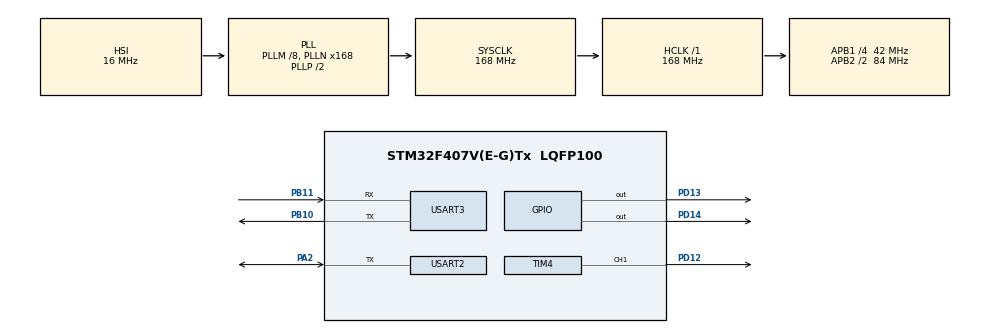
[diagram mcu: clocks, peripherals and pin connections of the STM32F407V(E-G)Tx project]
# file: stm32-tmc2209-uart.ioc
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Mcu.Family=STM32F4
Mcu.Name=STM32F407V(E-G)Tx
Mcu.Package=LQFP100
NVIC.PriorityGroup=NVIC_PRIORITYGROUP_4
PA2.Mode=Half_duplex(single_wire_mode)
PA2.Signal=USART2_TX
PB10.Mode=Asynchronous
PB10.Signal=USART3_TX
PB11.Mode=Asynchronous
PB11.Signal=USART3_RX
PD12.Signal=S_TIM4_CH1
PD13.Signal=GPIO_Output
PD14.Signal=GPIO_Output
ProjectManager.HeapSize=0x200
ProjectManager.StackSize=0x400
ProjectManager.TargetToolchain=STM32CubeIDE
RCC.48MHZClocksFreq_Value=84000000
RCC.AHBFreq_Value=168000000
RCC.APB1CLKDivider=RCC_HCLK_DIV4
RCC.APB1Freq_Value=42000000
RCC.APB1TimFreq_Value=84000000
RCC.APB2CLKDivider=RCC_HCLK_DIV2
RCC.APB2Freq_Value=84000000
RCC.APB2TimFreq_Value=168000000
RCC.CortexFreq_Value=168000000
RCC.HCLKFreq_Value=168000000
RCC.HSE_VALUE=25000000
RCC.HSI_VALUE=16000000
RCC.LSE_VALUE=32768
RCC.PLLM=8
RCC.PLLN=168
RCC.SYSCLKFreq_VALUE=168000000
RCC.SYSCLKSource=RCC_SYSCLKSOURCE_PLLCLK
RCC.VCOOutputFreq_Value=336000000
SH.S_TIM4_CH1.0=TIM4_CH1,PWM Generation1 CH1
TIM4.Channel-PWM\ Generation1\ CH1=TIM_CHANNEL_1
TIM4.Period=1000-1 
TIM4.Prescaler=84-1
TIM4.Pulse-PWM\ Generation1\ CH1=500
USART2.Mode=MODE_TX_RX
USART2.VirtualMode=VM_ASYNC
USART3.VirtualMode=VM_ASYNC
board=custom

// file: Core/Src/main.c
/* USER CODE BEGIN Header */
/**
  ******************************************************************************
  * @file           : main.c
  * @brief          : Main program body
  * @author         : M. Eyub Can, TECH-OHM (https://tech-ohm.com)
  ******************************************************************************
  * @attention
  *
  * Copyright (c) 2026 STMicroelectronics.
  * All rights reserved.
  *
  * This software is licensed under terms that can be found in the LICENSE file
  * in the root directory of this software component.
  * If no LICENSE file comes with this software, it is provided AS-IS.
  *
  ******************************************************************************
  */
/* USER CODE END Header */
#include "main.h"

/* USER CODE BEGIN Includes */
#include <stdio.h>
#include <string.h>
/* USER CODE END Includes */

/* USER CODE BEGIN PD */
#define TMC_SYNC            0x05U
#define TMC_SLAVE_ADDR      0x00U    /* MS1 = MS2 = GND */
#define TMC_MASTER_ADDR     0xFFU    /* the driver sends its reply to this address */
#define TMC_WRITE_FLAG      0x80U

#define TMC_REG_GCONF       0x00U
#define TMC_REG_IFCNT       0x02U
#define TMC_REG_IOIN        0x06U
#define TMC_REG_IHOLD_IRUN  0x10U
#define TMC_REG_TPOWERDOWN  0x11U
#define TMC_REG_CHOPCONF    0x6CU
#define TMC_REG_DRV_STATUS  0x6FU

#define TMC_READ_ERROR      0xFFFFFFFFUL

#define TMC_EN_PIN          GPIO_PIN_13   /* PD13, driver is enabled when low */
#define TMC_DIR_PIN         GPIO_PIN_14   /* PD14, direction */
/* USER CODE END PD */

TIM_HandleTypeDef htim4;

UART_HandleTypeDef huart2;
UART_HandleTypeDef huart3;

void SystemClock_Config(void);
static void MX_GPIO_Init(void);
static void MX_TIM4_Init(void);
static void MX_USART2_UART_Init(void);
static void MX_USART3_UART_Init(void);
/* USER CODE BEGIN PFP */
static void     log_print(const char *s);
static uint8_t  TMC_CRC(const uint8_t *data, uint8_t len);
static void     TMC_WriteReg(uint8_t reg, uint32_t value);
static uint32_t TMC_ReadReg(uint8_t reg);
static void     TMC_ReportStatus(void);
/* USER CODE END PFP */

/* USER CODE BEGIN 0 */
/* Terminal output goes out on USART3 (115200 8N1) */
static void log_print(const char *s)
{
  HAL_UART_Transmit(&huart3, (uint8_t *)s, (uint16_t)strlen(s), 100);
}

/* TMC2209 datagram CRC: polynomial x^8 + x^2 + x + 1, bytes processed LSB first */
static uint8_t TMC_CRC(const uint8_t *data, uint8_t len)
{
  uint8_t crc = 0;

  for (uint8_t i = 0; i < len; i++) {
    uint8_t byte = data[i];
    for (uint8_t j = 0; j < 8; j++) {
      if ((crc >> 7) ^ (byte & 0x01U))
        crc = (uint8_t)((crc << 1) ^ 0x07U);
      else
        crc = (uint8_t)(crc << 1);
      byte >>= 1;
    }
  }
  return crc;
}

/* Write datagram, 8 bytes: sync, address, register | 0x80, 4 data bytes (MSB first), CRC */
static void TMC_WriteReg(uint8_t reg, uint32_t value)
{
  uint8_t data[8];

  data[0] = TMC_SYNC;
  data[1] = TMC_SLAVE_ADDR;
  data[2] = reg | TMC_WRITE_FLAG;
  data[3] = (uint8_t)(value >> 24);
  data[4] = (uint8_t)(value >> 16);
  data[5] = (uint8_t)(value >> 8);
  data[6] = (uint8_t)(value);
  data[7] = TMC_CRC(data, 7);

  HAL_HalfDuplex_EnableTransmitter(&huart2);
  HAL_UART_Transmit(&huart2, data, 8, 100);
}

/* Read request, 4 bytes: sync, address, register, CRC. The driver replies on the
 * same wire with 8 bytes: sync, 0xFF, register, 4 data bytes, CRC. It is a single
 * wire, so the USART switches to receive once the request is out. */
static uint32_t TMC_ReadReg(uint8_t reg)
{
  uint8_t req[4];
  uint8_t resp[8] = {0};
  char    line[80];

  req[0] = TMC_SYNC;
  req[1] = TMC_SLAVE_ADDR;
  req[2] = reg & 0x7FU;
  req[3] = TMC_CRC(req, 3);

  HAL_HalfDuplex_EnableTransmitter(&huart2);
  HAL_UART_Transmit(&huart2, req, 4, 100);

  HAL_HalfDuplex_EnableReceiver(&huart2);
  if (HAL_UART_Receive(&huart2, resp, 8, 200) != HAL_OK) {
    log_print("UART timeout, no reply from the driver\r\n");
    return TMC_READ_ERROR;
  }

  snprintf(line, sizeof(line), "Raw: %02X %02X %02X %02X %02X %02X %02X %02X\r\n",
           resp[0], resp[1], resp[2], resp[3], resp[4], resp[5], resp[6], resp[7]);
  log_print(line);

  if (resp[0] != TMC_SYNC || resp[1] != TMC_MASTER_ADDR || resp[7] != TMC_CRC(resp, 7)) {
    log_print("Bad reply (sync, address or CRC mismatch)\r\n");
    return TMC_READ_ERROR;
  }

  return ((uint32_t)resp[3] << 24) | ((uint32_t)resp[4] << 16) |
         ((uint32_t)resp[5] << 8)  |  (uint32_t)resp[6];
}

/* Reads DRV_STATUS and prints its bits to the terminal in plain words */
static void TMC_ReportStatus(void)
{
  static const struct { uint8_t bit; const char *text; } flags[] = {
    { 0,  "[WARN]  OTPW  : overtemperature pre-warning\r\n" },
    { 1,  "[ERROR] OT    : overtemperature, driver shut down\r\n" },
    { 2,  "[ERROR] S2GA  : phase A shorted to ground\r\n" },
    { 3,  "[ERROR] S2GB  : phase B shorted to ground\r\n" },
    { 4,  "[ERROR] S2VSA : phase A shorted to supply\r\n" },
    { 5,  "[ERROR] S2VSB : phase B shorted to supply\r\n" },
    { 6,  "[WARN]  OLA   : phase A open load\r\n" },
    { 7,  "[WARN]  OLB   : phase B open load\r\n" },
    { 8,  "[INFO]  T120  : temperature above 120 C\r\n" },
    { 9,  "[INFO]  T143  : temperature above 143 C\r\n" },
    { 10, "[INFO]  T150  : temperature above 150 C\r\n" },
    { 11, "[INFO]  T157  : temperature above 157 C\r\n" },
    { 30, "[INFO]  STEALTH: running in StealthChop\r\n" },
    { 31, "[INFO]  STST  : motor at standstill\r\n" },
  };
  const uint32_t fault_mask = 0x000000FEUL;   /* OT, short and open-load bits */
  char line[64];

  uint32_t drv = TMC_ReadReg(TMC_REG_DRV_STATUS);
  if (drv == TMC_READ_ERROR) {
    return;
  }

  snprintf(line, sizeof(line), "\r\n=== DRV_STATUS: 0x%08lX ===\r\n", (unsigned long)drv);
  log_print(line);

  for (uint32_t i = 0; i < sizeof(flags) / sizeof(flags[0]); i++) {
    if (drv & (1UL << flags[i].bit)) {
      log_print(flags[i].text);
    }
  }

  /* CS_ACTUAL: the current step the driver applies right now, 0..31 */
  snprintf(line, sizeof(line), "CS_ACTUAL     : %lu / 31\r\n", (unsigned long)((drv >> 16) & 0x1FUL));
  log_print(line);

  if ((drv & fault_mask) == 0U) {
    log_print("[OK] No faults\r\n");
  }
  log_print("========================\r\n");
}
/* USER CODE END 0 */

int main(void)
{

  /* MCU Configuration--------------------------------------------------------*/

  /* Reset of all peripherals, Initializes the Flash interface and the Systick. */
  HAL_Init();

  /* Configure the system clock */
  SystemClock_Config();

  /* Initialize all configured peripherals */
  MX_GPIO_Init();
  MX_TIM4_Init();
  MX_USART2_UART_Init();
  MX_USART3_UART_Init();
  /* USER CODE BEGIN 2 */
  char buf[64];

  HAL_Delay(500);   /* let the driver supply settle */

  /* Link test: if IOIN reads back, the UART line works */
  uint32_t ioin = TMC_ReadReg(TMC_REG_IOIN);
  snprintf(buf, sizeof(buf), "IOIN = 0x%08lX\r\n", (unsigned long)ioin);
  log_print(buf);

  uint32_t ifcnt_before = TMC_ReadReg(TMC_REG_IFCNT);

  /* GCONF: pdn_disable = 1 (PDN pin is used for UART),
   *        mstep_reg_select = 1 (microsteps come from the register, not the MS pins),
   *        en_SpreadCycle = 0 (StealthChop, quiet mode) */
  TMC_WriteReg(TMC_REG_GCONF, (1UL << 6) | (1UL << 7));
  log_print("GCONF written\r\n");

  /* CHOPCONF: MRES = 4 (16 microsteps), intpol = 1, TOFF = 3, HSTRT = 5 */
  TMC_WriteReg(TMC_REG_CHOPCONF, (0x04UL << 24) | 0x10000053UL);
  log_print("CHOPCONF written\r\n");

  /* IHOLD_IRUN: run current 18/31, hold current 5/31, hold delay 6.
   * The value in amps depends on the sense resistors on the board. */
  TMC_WriteReg(TMC_REG_IHOLD_IRUN, (6UL << 16) | (18UL << 8) | 5UL);
  log_print("IHOLD_IRUN written: IRUN=18 IHOLD=5\r\n");

  /* TPOWERDOWN: drop to hold current about 0.4 s after the motor stops */
  TMC_WriteReg(TMC_REG_TPOWERDOWN, 20);

  /* IFCNT goes up by one on every valid write. Four writes were sent, so the difference must be 4. */
  HAL_Delay(10);
  uint32_t ifcnt_after = TMC_ReadReg(TMC_REG_IFCNT);
  if (ifcnt_before != TMC_READ_ERROR && ifcnt_after != TMC_READ_ERROR) {
    snprintf(buf, sizeof(buf), "IFCNT delta = %lu (expected 4)\r\n",
             (unsigned long)((ifcnt_after - ifcnt_before) & 0xFFUL));
    log_print(buf);
  }

  log_print("TMC2209 ready\r\n");

  HAL_GPIO_WritePin(GPIOD, TMC_DIR_PIN, GPIO_PIN_RESET);   /* fixed direction */
  HAL_GPIO_WritePin(GPIOD, TMC_EN_PIN, GPIO_PIN_RESET);    /* enable the output stage */
  /* USER CODE END 2 */

  /* Infinite loop */
  while (1)
  {

    /* USER CODE BEGIN 3 */
    /* STEP pulses come from TIM4 CH1 (PD12) at 1 kHz. With 16 microsteps and a
     * 1.8 degree motor that is about 19 rpm. */
    HAL_TIM_PWM_Start(&htim4, TIM_CHANNEL_1);
    HAL_Delay(1500);

    /* Status is read while the motor runs. The open-load bits only mean something then. */
    TMC_ReportStatus();

    HAL_Delay(1500);
    HAL_TIM_PWM_Stop(&htim4, TIM_CHANNEL_1);
    HAL_Delay(2000);
  }
  /* USER CODE END 3 */
}

void SystemClock_Config(void)
{
  RCC_OscInitTypeDef RCC_OscInitStruct = {0};
  RCC_ClkInitTypeDef RCC_ClkInitStruct = {0};

  /** Configure the main internal regulator output voltage
  */
  __HAL_RCC_PWR_CLK_ENABLE();
  __HAL_PWR_VOLTAGESCALING_CONFIG(PWR_REGULATOR_VOLTAGE_SCALE1);

  /** Initializes the RCC Oscillators according to the specified parameters
  * in the RCC_OscInitTypeDef structure.
  */
  RCC_OscInitStruct.OscillatorType = RCC_OSCILLATORTYPE_HSI;
  RCC_OscInitStruct.HSIState = RCC_HSI_ON;
  RCC_OscInitStruct.HSICalibrationValue = RCC_HSICALIBRATION_DEFAULT;
  RCC_OscInitStruct.PLL.PLLState = RCC_PLL_ON;
  RCC_OscInitStruct.PLL.PLLSource = RCC_PLLSOURCE_HSI;
  RCC_OscInitStruct.PLL.PLLM = 8;
  RCC_OscInitStruct.PLL.PLLN = 168;
  RCC_OscInitStruct.PLL.PLLP = RCC_PLLP_DIV2;
  RCC_OscInitStruct.PLL.PLLQ = 4;
  if (HAL_RCC_OscConfig(&RCC_OscInitStruct) != HAL_OK)
  {
    Error_Handler();
  }

  /** Initializes the CPU, AHB and APB buses clocks
  */
  RCC_ClkInitStruct.ClockType = RCC_CLOCKTYPE_HCLK|RCC_CLOCKTYPE_SYSCLK
                              |RCC_CLOCKTYPE_PCLK1|RCC_CLOCKTYPE_PCLK2;
  RCC_ClkInitStruct.SYSCLKSource = RCC_SYSCLKSOURCE_PLLCLK;
  RCC_ClkInitStruct.AHBCLKDivider = RCC_SYSCLK_DIV1;
  RCC_ClkInitStruct.APB1CLKDivider = RCC_HCLK_DIV4;
  RCC_ClkInitStruct.APB2CLKDivider = RCC_HCLK_DIV2;

  if (HAL_RCC_ClockConfig(&RCC_ClkInitStruct, FLASH_LATENCY_5) != HAL_OK)
  {
    Error_Handler();
  }
}

static void MX_TIM4_Init(void)
{

  TIM_MasterConfigTypeDef sMasterConfig = {0};
  TIM_OC_InitTypeDef sConfigOC = {0};

  htim4.Instance = TIM4;
  htim4.Init.Prescaler = 84-1;
  htim4.Init.CounterMode = TIM_COUNTERMODE_UP;
  htim4.Init.Period = 1000-1 ;
  htim4.Init.ClockDivision = TIM_CLOCKDIVISION_DIV1;
  htim4.Init.AutoReloadPreload = TIM_AUTORELOAD_PRELOAD_DISABLE;
  if (HAL_TIM_PWM_Init(&htim4) != HAL_OK)
  {
    Error_Handler();
  }
  sMasterConfig.MasterOutputTrigger = TIM_TRGO_RESET;
  sMasterConfig.MasterSlaveMode = TIM_MASTERSLAVEMODE_DISABLE;
  if (HAL_TIMEx_MasterConfigSynchronization(&htim4, &sMasterConfig) != HAL_OK)
  {
    Error_Handler();
  }
  sConfigOC.OCMode = TIM_OCMODE_PWM1;
  sConfigOC.Pulse = 500;
  sConfigOC.OCPolarity = TIM_OCPOLARITY_HIGH;
  sConfigOC.OCFastMode = TIM_OCFAST_DISABLE;
  if (HAL_TIM_PWM_ConfigChannel(&htim4, &sConfigOC, TIM_CHANNEL_1) != HAL_OK)
  {
    Error_Handler();
  }
  HAL_TIM_MspPostInit(&htim4);

}

static void MX_USART2_UART_Init(void)
{

  huart2.Instance = USART2;
  huart2.Init.BaudRate = 115200;
  huart2.Init.WordLength = UART_WORDLENGTH_8B;
  huart2.Init.StopBits = UART_STOPBITS_1;
  huart2.Init.Parity = UART_PARITY_NONE;
  huart2.Init.Mode = UART_MODE_TX_RX;
  huart2.Init.HwFlowCtl = UART_HWCONTROL_NONE;
  huart2.Init.OverSampling = UART_OVERSAMPLING_16;
  if (HAL_HalfDuplex_Init(&huart2) != HAL_OK)
  {
    Error_Handler();
  }

}

static void MX_USART3_UART_Init(void)
{

  huart3.Instance = USART3;
  huart3.Init.BaudRate = 115200;
  huart3.Init.WordLength = UART_WORDLENGTH_8B;
  huart3.Init.StopBits = UART_STOPBITS_1;
  huart3.Init.Parity = UART_PARITY_NONE;
  huart3.Init.Mode = UART_MODE_TX_RX;
  huart3.Init.HwFlowCtl = UART_HWCONTROL_NONE;
  huart3.Init.OverSampling = UART_OVERSAMPLING_16;
  if (HAL_UART_Init(&huart3) != HAL_OK)
  {
    Error_Handler();
  }

}

static void MX_GPIO_Init(void)
{
  GPIO_InitTypeDef GPIO_InitStruct = {0};

  /* GPIO Ports Clock Enable */
  __HAL_RCC_GPIOA_CLK_ENABLE();
  __HAL_RCC_GPIOB_CLK_ENABLE();
  __HAL_RCC_GPIOD_CLK_ENABLE();

  /*Configure GPIO pin Output Level */
  HAL_GPIO_WritePin(GPIOD, GPIO_PIN_13|GPIO_PIN_14, GPIO_PIN_RESET);

  /*Configure GPIO pins : PD13 PD14 */
  GPIO_InitStruct.Pin = GPIO_PIN_13|GPIO_PIN_14;
  GPIO_InitStruct.Mode = GPIO_MODE_OUTPUT_PP;
  GPIO_InitStruct.Pull = GPIO_NOPULL;
  GPIO_InitStruct.Speed = GPIO_SPEED_FREQ_LOW;
  HAL_GPIO_Init(GPIOD, &GPIO_InitStruct);

}

void Error_Handler(void)
{
  __disable_irq();
  while (1)
  {
  }
}
